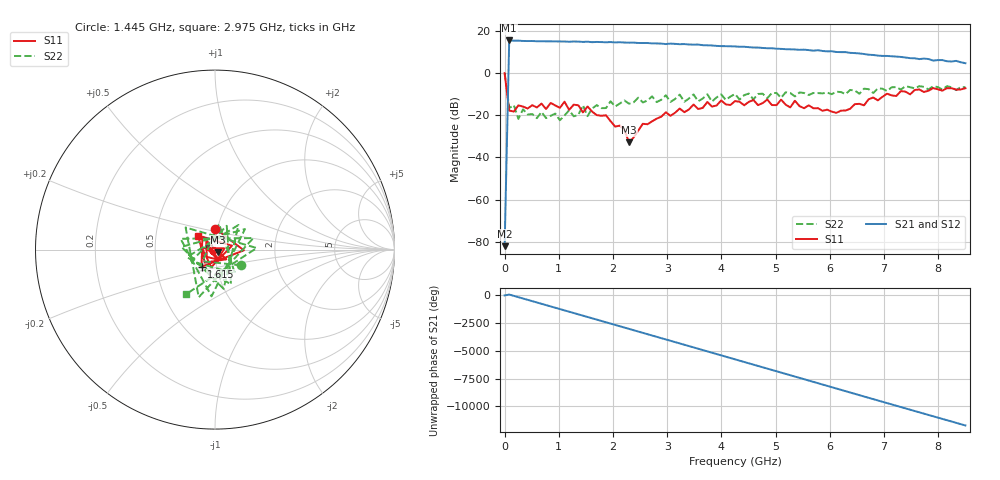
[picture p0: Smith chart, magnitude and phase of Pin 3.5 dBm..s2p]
! RsaToolbox (C) 2013 Rohde & Schwarz America
! Number of points: 101
! Number of ports: 2
! Balanced ports?: 0
# Hz S RI R 50
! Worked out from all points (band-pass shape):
!   101 points, 9 kHz to 8.5 GHz, reference 50 ohm
!   highest |S21| = 15.43 dB at 85.01 MHz (marker M1); lowest = -82.0 dB at 9 kHz (marker M2)
!   |S21| within 3 dB of the highest: 82.39 MHz to 4.423 GHz (4.34 GHz wide, 193 % of centre)
!   lowest |S11| = -32.9 dB at 2.295 GHz (marker M3), VSWR 1.05, Z = 51.7 - j1.52 ohm
!   |S11| at or under -10 dB: 47.61 MHz to 7.043 GHz (6.996 GHz wide, 197 % of centre); 7.076 GHz to 7.257 GHz (180.7 MHz wide, 2.52 % of centre); 7.472853 GHz to 7.48437 GHz (11.52 MHz wide, 0.154 % of centre)
!   |S22| runs from -22.4 to 0.0 dB; largest |S21 - S12| = 0
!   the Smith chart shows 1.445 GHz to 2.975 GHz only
!   S11 on the Smith chart (normalised r, x): 1.445 GHz: 0.98, +0.23; 1.615 GHz: 0.85, -0.16; 2.975 GHz: 0.82, +0.12
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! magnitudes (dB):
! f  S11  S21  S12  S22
! 9 kHz  -0.1  -82.0  -82.0  0.0
! 85.01 MHz  -17.8  15.4  15.4  -16.6
! 170 MHz  -18.2  15.3  15.3  -15.2
! 255 MHz  -15.3  15.3  15.3  -21.7
! 340 MHz  -15.9  15.2  15.2  -17.2
! 1.02 GHz  -16.5  14.9  14.9  -22.4
! 1.105 GHz  -13.6  14.9  14.9  -20.1
! 1.36 GHz  -15.3  14.9  14.9  -19.8
! 1.445 GHz  -18.7  14.7  14.7  -15.3
! 1.53 GHz  -15.8  14.8  14.8  -20.4
! 1.615 GHz  -18.3  14.6  14.6  -16.8
! 2.125 GHz  -24.9  14.6  14.6  -14.4
! 2.295 GHz  -32.9  14.4  14.4  -14.5
! 2.55 GHz  -24.0  14.2  14.2  -13.9
! 2.89 GHz  -20.7  13.9  13.9  -12.7
! 2.975 GHz  -18.6  13.7  13.7  -10.5
! 3.825 GHz  -15.9  13.0  13.0  -13.5
! 4.25 GHz  -13.3  12.6  12.6  -9.9
! 5.695 GHz  -16.7  10.6  10.6  -9.5
! 6.12 GHz  -18.9  10.0  10.0  -8.8
! 7.14 GHz  -10.6  7.9  7.9  -6.8
! 8.5 GHz  -7.2  4.6  4.6  -6.7
